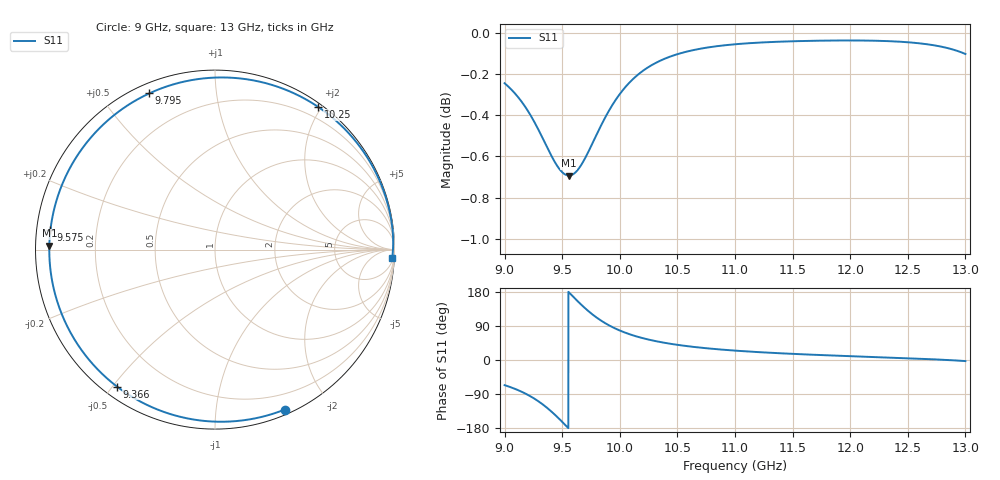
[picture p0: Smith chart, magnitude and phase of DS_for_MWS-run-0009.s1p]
! TOUCHSTONE file generated by CST DESIGN STUDIO
! Date and time: Tue Feb  4 16:22:59 2025
! Project name: C:\Work\MatlabApps\UnitCellOptimizationMatlab\CST\unitcell.cst
! Tree item: Tasks\Sweep1\SPara1\S-Parameters
! Header version: 2024
! Port assignment regex: !\s*Touchstone port\s*([0-9]+)\s*=\s*(CST MWS port|CST DES external port|CST DES block port)\s*(.+)\s* \(\"(.*)\"\)(\s*mode\s*([0-9]+))?.*
! Touchstone port assignment:
! Touchstone port 1 = CST DES external port 1 ("")
# GHz S MA R 50
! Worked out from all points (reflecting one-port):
!   4001 points, 9 GHz to 13 GHz, reference 50 ohm
!   lowest |S11| = -0.7 dB at 9.558 GHz (marker M1), VSWR 25.07, Z = 1.99 + j0.579 ohm
!   phase of S11 starts at -66 deg and turns -296 deg over the sweep
!   S11 on the Smith chart (normalised r, x): 9 GHz: 0.05, -1.53; 9.366 GHz: 0.04, -0.51; 9.575 GHz: 0.04, +0.06; 9.795 GHz: 0.04, +0.66; 10.25 GHz: 0.05, +1.96; 13 GHz: 9, -38
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9  0.9722 -66.4
9.042  0.9698 -70.7
9.108  0.9654 -78.4
9.22  0.9555 -95.0
9.297  0.9469 -109.7
9.366  0.9384 -125.6
9.431  0.9308 -142.8
9.467  0.9274 -153.3
9.5  0.925 -163.2
9.558  0.9233 178.7
9.575  0.9234 173.3
9.629  0.9258 156.7
9.69  0.9313 139.0
9.742  0.9375 125.3
9.795  0.9442 112.8
9.839  0.9497 103.6
9.886  0.9552 94.9
10  0.9664 77.8
10.115  0.9746 65.0
10.246  0.981 54.1
10.364  0.985 46.7
10.5  0.9882 40.0
10.721  0.9915 31.9
11  0.9937 24.8
11.5  0.9954 16.2
12  0.9958 10.1
12.5  0.9948 4.6
13  0.9883 -2.8
